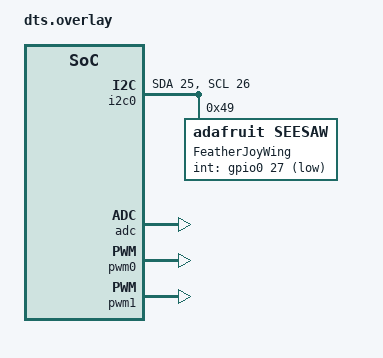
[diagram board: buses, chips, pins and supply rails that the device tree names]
// #include "feather_connector.dtsi"

&i2c0 {
        compatible = "nordic,nrf-twim";
        // compatible = "nordic,nrf-twi";
        // clock-frequency = <I2C_BITRATE_FAST>;
	sda-pin = <25>;
	scl-pin = <26>;
        status = "okay";

        seesaw@49 {
		compatible = "adafruit,seesaw";
		reg = <0x49>;
		label = "FeatherJoyWing";
		int-gpios = <&gpio0 27 GPIO_INT_ACTIVE_LOW>;
	};
};

&adc {
	status = "okay";
};

&pwm0 {
	status = "okay";
	ch0-pin = <17>;
	//ch0-inverted;
        
};

&pwm1 {
	status = "okay";
	ch0-pin = <19>;
	//ch0-inverted;
};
